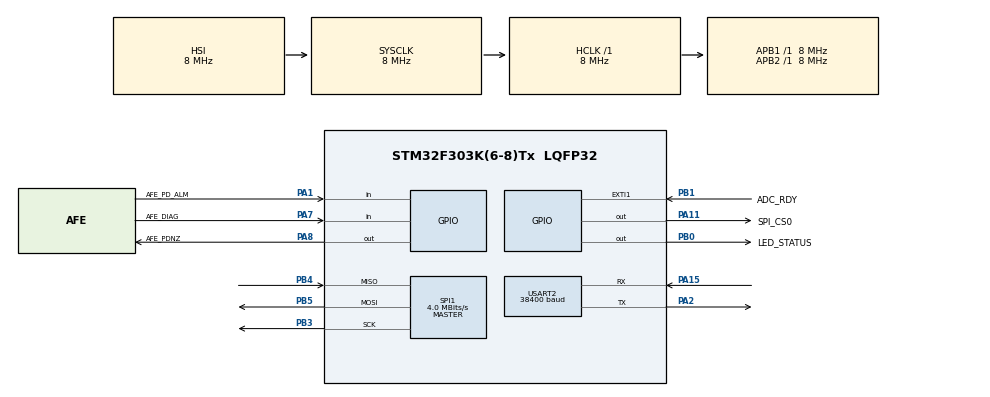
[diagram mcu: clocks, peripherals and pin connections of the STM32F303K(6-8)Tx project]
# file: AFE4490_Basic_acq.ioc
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Mcu.Family=STM32F3
Mcu.Name=STM32F303K(6-8)Tx
Mcu.Package=LQFP32
NVIC.EXTI1_IRQn=true\:0\:0\:true\:false\:true\:true\:true\:true
NVIC.PriorityGroup=NVIC_PRIORITYGROUP_4
NVIC.USART2_IRQn=true\:0\:0\:true\:false\:true\:true\:true\:true
PA1.GPIO_Label=AFE_PD_ALM
PA1.Signal=GPIO_Input
PA11.GPIO_Label=SPI_CS0
PA11.Signal=GPIO_Output
PA13.Mode=Serial_Wire
PA13.Signal=SYS_JTMS-SWDIO
PA14.Mode=Serial_Wire
PA14.Signal=SYS_JTCK-SWCLK
PA15.Mode=Asynchronous
PA15.Signal=USART2_RX
PA2.Mode=Asynchronous
PA2.Signal=USART2_TX
PA7.GPIO_Label=AFE_DIAG
PA7.Signal=GPIO_Input
PA8.GPIO_Label=AFE_PDNZ
PA8.PinState=GPIO_PIN_SET
PA8.Signal=GPIO_Output
PB0.GPIO_Label=LED_STATUS
PB0.Signal=GPIO_Output
PB1.GPIO_Label=ADC_RDY
PB1.Signal=GPXTI1
PB3.Mode=Full_Duplex_Master
PB3.Signal=SPI1_SCK
PB4.Mode=Full_Duplex_Master
PB4.Signal=SPI1_MISO
PB5.Mode=Full_Duplex_Master
PB5.Signal=SPI1_MOSI
PF0\ /\ OSC_IN.Mode=HSE-External-Clock-Source
PF0\ /\ OSC_IN.Signal=RCC_OSC_IN
ProjectManager.HeapSize=0x200
ProjectManager.StackSize=0x400
ProjectManager.TargetToolchain=STM32CubeIDE
RCC.AHBFreq_Value=8000000
RCC.APB1Freq_Value=8000000
RCC.APB1TimFreq_Value=8000000
RCC.APB2Freq_Value=8000000
RCC.APB2TimFreq_Value=8000000
RCC.CortexFreq_Value=8000000
RCC.HCLKFreq_Value=8000000
RCC.HSE_VALUE=8000000
RCC.HSI_VALUE=8000000
RCC.SYSCLKFreq_VALUE=8000000
SPI1.CalculateBaudRate=4.0 MBits/s
SPI1.DataSize=SPI_DATASIZE_8BIT
SPI1.Direction=SPI_DIRECTION_2LINES
SPI1.Mode=SPI_MODE_MASTER
SPI1.NSSPMode=SPI_NSS_PULSE_DISABLE
SPI1.VirtualType=VM_MASTER
USART2.BaudRate=38400
USART2.VirtualMode-Asynchronous=VM_ASYNC
board=NUCLEO-F303K8

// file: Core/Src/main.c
/* USER CODE BEGIN Header */
/**
  **************************
  * @file           : main.c
  * @brief          : Main program body
  **************************
  * @attention
  *
  * Copyright (c) 2022 STMicroelectronics.
  * All rights reserved.
  *
  * This software is licensed under terms that can be found in the LICENSE file
  * in the root directory of this software component.
  * If no LICENSE file comes with this software, it is provided AS-IS.
  *
  **************************
  */
/* USER CODE END Header */
#include "main.h"
#include <math.h>

/* USER CODE BEGIN Includes */
#include "stdio.h"
#include "string.h"
/* USER CODE END Includes */

SPI_HandleTypeDef hspi1;

UART_HandleTypeDef huart2;

/* USER CODE BEGIN PV */
#define MAX_SAMPLES 50
#define scale_factor 1.2f
#define SYSTEM_CLOCK_FREQUENCY 4000000 // 4 MHz
#define FULL_SCALE_CURRENT 75.0  // Assuming full-scale current range is 100 mA
#define LED_RANGE 0x1  // Corresponds to 100 mA full-scale current range (binary 10)
unsigned char uart_buf[100];
unsigned int uart_buf_len;
unsigned char spi_buf[20];

volatile uint8_t data_buffer[10];
volatile uint8_t data_full[100];
volatile uint8_t finished = 0;
volatile uint8_t indice = 0;
uint32_t dataSPI;
int IRdata;
int AIRdata;
int REDdata;
int AREDdata;
int RED_AREDdata;
int IR_AIRdata;
int IRdc[MAX_SAMPLES];
int Reddc[MAX_SAMPLES];
int i = 0;
float difIRheartsig_dc;
float difREDheartsig_dc;
float powdifIR;
float powdifRed;
float IRac;
float Redac;
float Ratio;
float SpO2 = 0;
float SpOpercentage = 0;
float voltage_REDdata;
float voltage_IRdata;

// Define AFE4490 register addresses
uint8_t CONTROL0 = 0x00;
uint8_t LED2STC = 0x01;
uint8_t LED2ENDC = 0x02;
uint8_t LED2LEDSTC = 0x03;
uint8_t LED2LEDENDC = 0x04;
uint8_t ALED2STC = 0x05;
uint8_t ALED2ENDC = 0x06;
uint8_t LED1STC = 0x07;
uint8_t LED1ENDC = 0x08;
uint8_t LED1LEDSTC = 0x09;
uint8_t LED1LEDENDC = 0x0A;
uint8_t ALED1STC = 0x0B;
uint8_t ALED1ENDC = 0x0C;
uint8_t LED2CONVST = 0x0D;
uint8_t LED2CONVEND = 0x0E;
uint8_t ALED2CONVST = 0x0F;
uint8_t ALED2CONVEND = 0x10;
uint8_t LED1CONVST = 0x11;
uint8_t LED1CONVEND = 0x12;
uint8_t ALED1CONVST = 0x13;
uint8_t ALED1CONVEND = 0x14;
uint8_t ADCRSTSTCT0 = 0x15;
uint8_t ADCRSTENDCT0 = 0x16;
uint8_t ADCRSTSTCT1 = 0x17;
uint8_t ADCRSTENDCT1 = 0x18;
uint8_t ADCRSTSTCT2 = 0x19;
uint8_t ADCRSTENDCT2 = 0x1A;
uint8_t ADCRSTSTCT3 = 0x1B;
uint8_t ADCRSTENDCT3 = 0x1C;
uint8_t PRPCOUNT = 0x1D;
uint8_t CONTROL1 = 0x1E;
uint8_t SPARE1 = 0x1F;
uint8_t TIAGAIN = 0x20;
uint8_t TIA_AMB_GAIN = 0x21;
uint8_t LEDCNTRL = 0x22;
uint8_t CONTROL2 = 0x23;
uint8_t SPARE2 = 0x24;
uint8_t SPARE3 = 0x25;
uint8_t SPARE4 = 0x26;
uint8_t RESERVED1 = 0x27;
uint8_t RESERVED2 = 0x28;
uint8_t ALARM = 0x29;
uint8_t LED2VAL = 0x2A;
uint8_t ALED2VAL = 0x2B;
uint8_t LED1VAL = 0x2C;
uint8_t ALED1VAL = 0x2D;
uint8_t LED2_ALED2VAL = 0x2E;
uint8_t LED1_ALED1VAL = 0x2F;
uint8_t DIAG = 0x30;

int a=0;
int b=0;
int c=0;
int e=0;
int f=0;
int hna=0;
int recu = 0;
unsigned char rx_data[10];
unsigned char start_data[10];
HAL_StatusTypeDef status;
int Red_current=0;
int IR_current=0;
float Frequency=0;
float Gain=0;
int Capacity=0;
int Resistance=0;
uint32_t register_value;
uint8_t PRP;
uint32_t value1;
uint32_t value2;
uint32_t ledcntrl_value;
uint16_t TIAGAIN_value;
volatile uint8_t stop_requested  = 0;
uint8_t uart_rx_buffer[10];
uint8_t stop_rx_data[16];
volatile uint8_t start_message_received = 0;
volatile uint8_t start_received = 0;
volatile uint8_t received = 0;
/* USER CODE END PV */

void SystemClock_Config(void);
static void MX_GPIO_Init(void);
static void MX_USART2_UART_Init(void);
static void MX_SPI1_Init(void);
//static void MX_NVIC_Init(void);
/* USER CODE BEGIN PFP */
void main_func(void);
void CheckForDebugMessage(void);
void set_PRPCOUNT_frequency(float desired_frequency);
void set_LED_currents(float led1_current_mA, float led2_current_mA);
void set_TIAGAIN_LED1(int RF_LED1, int CF_LED1, float STG2GAIN1);
void AFE4490_powerDown(uint8_t k);
void AFE4490_readEnable(uint8_t k);
void AFE4490_write(uint8_t addr, uint32_t data);
uint32_t AFE4490_read(uint8_t addr);
void AFE4490_registersInit();
void HAL_GPIO_EXTI_Callback(uint16_t GPIO_Pin);
void HAL_UART_RxCpltCallback(UART_HandleTypeDef *huart);
float mean(int* data, int length);
float calculateSpO2();
//void sendSpO2Value(float spo2);
/* USER CODE END PFP */

int main(void)
{

  /* MCU Configuration--------------------------------------------------------*/

  /* Reset of all peripherals, Initializes the Flash interface and the Systick. */
  HAL_Init();

  /* Configure the system clock */
  SystemClock_Config();

  /* Initialize all configured peripherals */
  MX_GPIO_Init();
  MX_USART2_UART_Init();
  MX_SPI1_Init();
  //MX_NVIC_Init();
  /* USER CODE BEGIN 2 */

  // Set AFE_PDNZ to 1
  //HAL_GPIO_WritePin(AFE_PDNZ_GPIO_Port, AFE_PDNZ_Pin, GPIO_PIN_SET);
  // Set SPI_CS to 1 (IDLE MODE)
  //HAL_GPIO_WritePin(SPI_CS0_GPIO_Port, SPI_CS0_Pin, GPIO_PIN_SET);

  // Send test UART message
  //uart_buf_len = sprintf(uart_buf, "AFE4490 Basic Test Acquisition program\r\n");
  //HAL_UART_Transmit(&huart2, uart_buf, uart_buf_len, HAL_MAX_DELAY);

  //-----------------------Some AFE4490 code tests-------------------------------
  // Power Down AFE4490
  // AFE4490_powerDown(1);
  // Power Up AFE4490
  // AFE4490_powerDown(0);

  // Write value to registers
  /*
  AFE4490_readEnable(0);

  spi_buf[0] = 0x00;
  spi_buf[1] = 0x4e;
  spi_buf[2] = 0xbf;

  HAL_GPIO_WritePin(SPI_CS0_GPIO_Port, SPI_CS0_Pin, GPIO_PIN_RESET);
  HAL_SPI_Transmit(&hspi1, (uint8_t *)&LED2STC, 1, HAL_MAX_DELAY);
  HAL_SPI_Transmit(&hspi1, (uint8_t *) spi_buf, 3, HAL_MAX_DELAY);
  HAL_GPIO_WritePin(SPI_CS0_GPIO_Port, SPI_CS0_Pin, GPIO_PIN_SET);

  spi_buf[0] = 0x00;
  spi_buf[1] = 0xac;
  spi_buf[2] = 0xc8;

  HAL_GPIO_WritePin(SPI_CS0_GPIO_Port, SPI_CS0_Pin, GPIO_PIN_RESET);
  HAL_SPI_Transmit(&hspi1, (uint8_t *)&LED2ENDC, 1, HAL_MAX_DELAY);
  HAL_SPI_Transmit(&hspi1, (uint8_t *) spi_buf, 3, HAL_MAX_DELAY);
  HAL_GPIO_WritePin(SPI_CS0_GPIO_Port, SPI_CS0_Pin, GPIO_PIN_SET);

  // Read back values from registers
  AFE4490_readEnable(1);

  spi_buf[0] = 0x00;
  spi_buf[1] = 0x00;
  spi_buf[2] = 0x00;

  HAL_GPIO_WritePin(SPI_CS0_GPIO_Port, SPI_CS0_Pin, GPIO_PIN_RESET);
  HAL_SPI_Transmit(&hspi1, (uint8_t *)&LED2STC, 1, HAL_MAX_DELAY);
  HAL_SPI_Receive(&hspi1, (uint8_t *)spi_buf, 3, HAL_MAX_DELAY);
  HAL_GPIO_WritePin(SPI_CS0_GPIO_Port, SPI_CS0_Pin, GPIO_PIN_SET);

  uart_buf_len = sprintf(uart_buf, "\r\nBEGIN Reading\r\nLED2STC = 0x%02x%02x%02x\t", spi_buf[0], spi_buf[1], spi_buf[2]);
  HAL_UART_Transmit(&huart2, uart_buf, uart_buf_len, HAL_MAX_DELAY);

  spi_buf[0] = 0x00;
  spi_buf[1] = 0x00;
  spi_buf[2] = 0x00;

  HAL_GPIO_WritePin(SPI_CS0_GPIO_Port, SPI_CS0_Pin, GPIO_PIN_RESET);
  HAL_SPI_Transmit(&hspi1, (uint8_t *)&LED2ENDC, 1, HAL_MAX_DELAY);
  HAL_SPI_Receive(&hspi1, (uint8_t *)spi_buf, 3, HAL_MAX_DELAY);
  HAL_GPIO_WritePin(SPI_CS0_GPIO_Port, SPI_CS0_Pin, GPIO_PIN_SET);

  uart_buf_len = sprintf(uart_buf, "LED2ENDC = 0x%02x%02x%02x\r\nEND Reading\r\n", spi_buf[0], spi_buf[1], spi_buf[2]);
  HAL_UART_Transmit(&huart2, uart_buf, uart_buf_len, HAL_MAX_DELAY);
  */
  //-----------------------AFE4490 END code tests-------------------------------

  // Test using Write and Read functions
  /*
  AFE4490_write(LED2STC, 0x004ebf);
  dataSPI = AFE4490_read(LED2STC);

  uart_buf_len = sprintf(uart_buf, "LED2STC = 0x%06x\r\n", dataSPI);
  HAL_UART_Transmit(&huart2, uart_buf, uart_buf_len, HAL_MAX_DELAY);
  */

  // AFE4490_write(CONTROL0, 0x000008);  //  Reset all registers to default values

  /*
  AFE4490_write(CONTROL0, 0x000008);
  AFE4490_write(CONTROL0, 0x000000);
  */

  //AFE4490_registersInit_62k5();

  // AFE4490_readEnable(0);
  /*
  AFE4490_write(0x01,0x0017C0);    ////
  AFE4490_write(0x02,0x001f3E);    ////
  AFE4490_write(0x03,0x001770);    ////
  AFE4490_write(0x04,0x001F3F);    ////
  AFE4490_write(0x05,0x000050);    ////
  AFE4490_write(0x06,0x0007CE);    ////
  AFE4490_write(0x07,0x000820);    ////
  AFE4490_write(0x08,0x000F9E);    ////
  AFE4490_write(0x09,0x0007D0);    ////
  AFE4490_write(0x0A,0x000F9F);    ////
  AFE4490_write(0x0B,0x000FF0);    ////
  AFE4490_write(0x0C,0x00176E);    ////
  AFE4490_write(0x0D,0x000006);    ////
  AFE4490_write(0x0E,0x0007cf);    ////
  AFE4490_write(0x0F,0x0007d6);    ////
  AFE4490_write(0x10,0x000f9f);    ////
  AFE4490_write(0x11,0x000fa6);    ////
  AFE4490_write(0x12,0x00176f);    ////
  AFE4490_write(0x13,0x001776);    ////
  AFE4490_write(0x14,0x001f3f);    ////
  AFE4490_write(0x15,0x000000);    ////
  AFE4490_write(0x16,0x000005);    ////
  AFE4490_write(0x17,0x0007d0);    ////
  AFE4490_write(0x18,0x0007d5);    ////
  AFE4490_write(0x19,0x000fa0);    ////
  AFE4490_write(0x1A,0x000fa5);    ////
  AFE4490_write(0x1B,0x001770);    ////
  AFE4490_write(0x1C,0x001775);    ////
  AFE4490_write(0x1D,0x001f3f);    ////
  AFE4490_write(0x1E,0x000101);    ////
  AFE4490_write(0x1F,0x000000);    ////
  AFE4490_write(0x20,0x000000);
  // AFE4490_write(0x21,0x000000);
  AFE4490_write(TIA_AMB_GAIN,0x000005);
  // AFE4490_write(0x22,0x02ffff);
  AFE4490_write(LEDCNTRL, 0x011414);
  AFE4490_write(0x23,0x020000);    ////
  AFE4490_write(0x24,0x000000);
  AFE4490_write(0x25,0x000000);
  AFE4490_write(0x26,0x000000);
  AFE4490_write(0x27,0x000000);
  AFE4490_write(0x28,0x000000);
  AFE4490_write(0x29,0x000080);
  AFE4490_write(0x2A,0x000000);
  AFE4490_write(0x2B,0x000000);
  AFE4490_write(0x2C,0x000000);
  AFE4490_write(0x2D,0x000000);
  AFE4490_write(0x2E,0x000000);
  AFE4490_write(0x2F,0x000000);
  AFE4490_write(0x30,0x000000);
  */

  // Basic configuration to observe ADC_RDY Pin
  /*
  AFE4490_write(CONTROL0, 0x000002);
  AFE4490_write(PRPCOUNT, 0x00FA0);
  AFE4490_write(CONTROL0, 0x000000);
  AFE4490_write(CONTROL1, 0x000100);
  */

  /*uint8_t addr;

  // Read registers from 0x01 to 0x23

  for (addr = 1; addr <= 35; addr++)
  {
	  dataSPI = AFE4490_read(addr);
	  uart_buf_len = sprintf(uart_buf, "addr 0x%02x = 0x%06x\r\n", addr, dataSPI);
	  HAL_UART_Transmit(&huart2, uart_buf, uart_buf_len, HAL_MAX_DELAY);
	  HAL_Delay(100);
  */
  //AFE4490_write(LEDCNTRL, 0x011414);

  //a=1;
  //set_LED_currents(5.859, 5.859);
  //set_TIAGAIN_LED1(500,5,0);
  //AFE4490_registersInit_62k5();
  //value  = AFE4490_read(TIAGAIN);

  /*
  AFE4490_write(LEDCNTRL, 0x010000);  //  I = 0 mA
  AFE4490_write(LEDCNTRL, 0x010303);  //  I = 1 mA
  AFE4490_write(LEDCNTRL, 0x010707);  //  I = 2 mA
  AFE4490_write(LEDCNTRL, 0x010A0A);  //  I = 3 mA
  AFE4490_write(LEDCNTRL, 0x010E0E);  //  I = 4 mA
  AFE4490_write(LEDCNTRL, 0x010E0E);  //  I = 5 mA
  AFE4490_write(LEDCNTRL, 0x011414);  //  I = 5.8835 mA
  */

  /* USER CODE END 2 */

  /* Infinite loop */
  /* USER CODE BEGIN WHILE */
  while (1)
  {
	 // Toggle LED_STATUS pin every x seconds

	 //HAL_GPIO_TogglePin(LED_STATUS_GPIO_Port, LED_STATUS_Pin);
	 //HAL_Delay(500);
	  a++;
	  main_func();
	  //AFE4490_write(LEDCNTRL, 0x011414);
	  //main_func();
	  //PRPCOUNT = 0x1D;
	  //set_PRPCOUNT_frequency(500);
	  // uart_buf_len = sprintf(uart_buf, "RED: %d\tIR: %d\r\n", REDdata, IRdata);
	  /*uart_buf_len = sprintf(uart_buf, "RED: %d\r\n", REDdata);
	  HAL_UART_Transmit(&huart2, uart_buf, uart_buf_len, HAL_MAX_DELAY);
	  */

    /* USER CODE END WHILE */

  }
}

void SystemClock_Config(void)
{
  RCC_OscInitTypeDef RCC_OscInitStruct = {0};
  RCC_ClkInitTypeDef RCC_ClkInitStruct = {0};

  /** Initializes the RCC Oscillators according to the specified parameters
  * in the RCC_OscInitTypeDef structure.
  */
  RCC_OscInitStruct.OscillatorType = RCC_OSCILLATORTYPE_HSI;
  RCC_OscInitStruct.HSIState = RCC_HSI_ON;
  RCC_OscInitStruct.HSICalibrationValue = RCC_HSICALIBRATION_DEFAULT;
  RCC_OscInitStruct.PLL.PLLState = RCC_PLL_NONE;
  if (HAL_RCC_OscConfig(&RCC_OscInitStruct) != HAL_OK)
  {
    Error_Handler();
  }
  /** Initializes the CPU, AHB and APB buses clocks
  */
  RCC_ClkInitStruct.ClockType = RCC_CLOCKTYPE_HCLK|RCC_CLOCKTYPE_SYSCLK
                              |RCC_CLOCKTYPE_PCLK1|RCC_CLOCKTYPE_PCLK2;
  RCC_ClkInitStruct.SYSCLKSource = RCC_SYSCLKSOURCE_HSI;
  RCC_ClkInitStruct.AHBCLKDivider = RCC_SYSCLK_DIV1;
  RCC_ClkInitStruct.APB1CLKDivider = RCC_HCLK_DIV1;
  RCC_ClkInitStruct.APB2CLKDivider = RCC_HCLK_DIV1;

  if (HAL_RCC_ClockConfig(&RCC_ClkInitStruct, FLASH_LATENCY_0) != HAL_OK)
  {
    Error_Handler();
  }
}

/*static void MX_NVIC_Init(void)
{
	/* USART2_IRQn interrupt configuration
	HAL_NVIC_SetPriority(USART2_IRQn, 0, 0);
	HAL_NVIC_EnableIRQ(USART2_IRQn);
  /* EXTI1_IRQn interrupt configuration
	HAL_NVIC_SetPriority(EXTI1_IRQn, 1, 0);
	HAL_NVIC_EnableIRQ(EXTI1_IRQn);
}*/

static void MX_SPI1_Init(void)
{

  /* SPI1 parameter configuration*/
  hspi1.Instance = SPI1;
  hspi1.Init.Mode = SPI_MODE_MASTER;
  hspi1.Init.Direction = SPI_DIRECTION_2LINES;
  hspi1.Init.DataSize = SPI_DATASIZE_8BIT;
  hspi1.Init.CLKPolarity = SPI_POLARITY_LOW;
  hspi1.Init.CLKPhase = SPI_PHASE_1EDGE;
  hspi1.Init.NSS = SPI_NSS_SOFT;
  hspi1.Init.BaudRatePrescaler = SPI_BAUDRATEPRESCALER_2;
  hspi1.Init.FirstBit = SPI_FIRSTBIT_MSB;
  hspi1.Init.TIMode = SPI_TIMODE_DISABLE;
  hspi1.Init.CRCCalculation = SPI_CRCCALCULATION_DISABLE;
  hspi1.Init.CRCPolynomial = 7;
  hspi1.Init.CRCLength = SPI_CRC_LENGTH_DATASIZE;
  hspi1.Init.NSSPMode = SPI_NSS_PULSE_DISABLE;
  if (HAL_SPI_Init(&hspi1) != HAL_OK)
  {
    Error_Handler();
  }

}

static void MX_USART2_UART_Init(void)
{

  huart2.Instance = USART2;
  huart2.Init.BaudRate = 115200;
  huart2.Init.WordLength = UART_WORDLENGTH_8B;
  huart2.Init.StopBits = UART_STOPBITS_1;
  huart2.Init.Parity = UART_PARITY_NONE;
  huart2.Init.Mode = UART_MODE_TX_RX;
  huart2.Init.HwFlowCtl = UART_HWCONTROL_NONE;
  huart2.Init.OverSampling = UART_OVERSAMPLING_16;
  huart2.Init.OneBitSampling = UART_ONE_BIT_SAMPLE_DISABLE;
  huart2.AdvancedInit.AdvFeatureInit = UART_ADVFEATURE_NO_INIT;
  if (HAL_UART_Init(&huart2) != HAL_OK)
  {
    Error_Handler();
  }

}

static void MX_GPIO_Init(void)
{
  GPIO_InitTypeDef GPIO_InitStruct = {0};

  /* GPIO Ports Clock Enable */
  __HAL_RCC_GPIOF_CLK_ENABLE();
  __HAL_RCC_GPIOA_CLK_ENABLE();
  __HAL_RCC_GPIOB_CLK_ENABLE();

  /*Configure GPIO pin Output Level */
  HAL_GPIO_WritePin(LED_STATUS_GPIO_Port, LED_STATUS_Pin, GPIO_PIN_RESET);

  /*Configure GPIO pin Output Level */
  HAL_GPIO_WritePin(AFE_PDNZ_GPIO_Port, AFE_PDNZ_Pin, GPIO_PIN_SET);

  /*Configure GPIO pin Output Level */
  HAL_GPIO_WritePin(SPI_CS0_GPIO_Port, SPI_CS0_Pin, GPIO_PIN_RESET);

  /*Configure GPIO pins : AFE_PD_ALM_Pin AFE_DIAG_Pin */
  GPIO_InitStruct.Pin = AFE_PD_ALM_Pin|AFE_DIAG_Pin;
  GPIO_InitStruct.Mode = GPIO_MODE_INPUT;
  GPIO_InitStruct.Pull = GPIO_NOPULL;
  HAL_GPIO_Init(GPIOA, &GPIO_InitStruct);

  /*Configure GPIO pin : LED_STATUS_Pin */
  GPIO_InitStruct.Pin = LED_STATUS_Pin;
  GPIO_InitStruct.Mode = GPIO_MODE_OUTPUT_PP;
  GPIO_InitStruct.Pull = GPIO_NOPULL;
  GPIO_InitStruct.Speed = GPIO_SPEED_FREQ_LOW;
  HAL_GPIO_Init(LED_STATUS_GPIO_Port, &GPIO_InitStruct);

  /*Configure GPIO pin : ADC_RDY_Pin */
  GPIO_InitStruct.Pin = ADC_RDY_Pin;
  GPIO_InitStruct.Mode = GPIO_MODE_IT_RISING;
  GPIO_InitStruct.Pull = GPIO_NOPULL;
  HAL_GPIO_Init(ADC_RDY_GPIO_Port, &GPIO_InitStruct);

  /*Configure GPIO pins : AFE_PDNZ_Pin SPI_CS0_Pin */
  GPIO_InitStruct.Pin = AFE_PDNZ_Pin|SPI_CS0_Pin;
  GPIO_InitStruct.Mode = GPIO_MODE_OUTPUT_PP;
  GPIO_InitStruct.Pull = GPIO_NOPULL;
  GPIO_InitStruct.Speed = GPIO_SPEED_FREQ_LOW;
  HAL_GPIO_Init(GPIOA, &GPIO_InitStruct);

  /* EXTI interrupt init*/
  //HAL_NVIC_SetPriority(EXTI1_IRQn, 0, 0);
  //HAL_NVIC_EnableIRQ(EXTI1_IRQn);

}

/* USER CODE BEGIN 4 */

// Enable/Disable AFE4490 Read/Write Mode
void AFE4490_readEnable(uint8_t k)
{
	unsigned char spi_buf[3];
	spi_buf[0] = 0x00;
	spi_buf[1] = 0x00;

	switch(k)
	{
	case 1:
	spi_buf[2] = 0x01;
	HAL_GPIO_WritePin(SPI_CS0_GPIO_Port, SPI_CS0_Pin, GPIO_PIN_RESET);
	HAL_SPI_Transmit(&hspi1, (uint8_t *)&CONTROL0, 1, HAL_MAX_DELAY);
	HAL_SPI_Transmit(&hspi1, (uint8_t *) spi_buf, 3, HAL_MAX_DELAY);
	HAL_GPIO_WritePin(SPI_CS0_GPIO_Port, SPI_CS0_Pin, GPIO_PIN_SET);
	break;
	case 0:
	spi_buf[2] = 0x00;
	HAL_GPIO_WritePin(SPI_CS0_GPIO_Port, SPI_CS0_Pin, GPIO_PIN_RESET);
	HAL_SPI_Transmit(&hspi1, (uint8_t *)&CONTROL0, 1, HAL_MAX_DELAY);
	HAL_SPI_Transmit(&hspi1, (uint8_t *) spi_buf, 3, HAL_MAX_DELAY);
	HAL_GPIO_WritePin(SPI_CS0_GPIO_Port, SPI_CS0_Pin, GPIO_PIN_SET);
	break;
	default:
	// Do nothing
	break;
	}
}

// AFE4490 Power down
void AFE4490_powerDown(uint8_t k)
{
	unsigned char spi_buf[3];
	spi_buf[0] = 0x00;
	spi_buf[1] = 0x00;

	switch(k)
	{
	case 1:
	spi_buf[2] = 0x01;
	HAL_GPIO_WritePin(SPI_CS0_GPIO_Port, SPI_CS0_Pin, GPIO_PIN_RESET);
	HAL_SPI_Transmit(&hspi1, (uint8_t *)&CONTROL2, 1, HAL_MAX_DELAY);
	HAL_SPI_Transmit(&hspi1, (uint8_t *) spi_buf, 3, HAL_MAX_DELAY);
	HAL_GPIO_WritePin(SPI_CS0_GPIO_Port, SPI_CS0_Pin, GPIO_PIN_SET);
	break;
	case 0:
	spi_buf[2] = 0x00;
	HAL_GPIO_WritePin(SPI_CS0_GPIO_Port, SPI_CS0_Pin, GPIO_PIN_RESET);
	HAL_SPI_Transmit(&hspi1, (uint8_t *)&CONTROL2, 1, HAL_MAX_DELAY);
	HAL_SPI_Transmit(&hspi1, (uint8_t *) spi_buf, 3, HAL_MAX_DELAY);
	HAL_GPIO_WritePin(SPI_CS0_GPIO_Port, SPI_CS0_Pin, GPIO_PIN_SET);
	break;
	default:
	// Do nothing
	break;
	}
}

// AFE4490 Write Function
void AFE4490_write(uint8_t addr, uint32_t data)
{
	unsigned char spi_buf[20];

	spi_buf[0] = (data>>16) & 0xFF;
	spi_buf[1] = (data>>8) & 0xFF;
	spi_buf[2] = data & 0xFF;

	AFE4490_readEnable(0);

	HAL_GPIO_WritePin(SPI_CS0_GPIO_Port, SPI_CS0_Pin, GPIO_PIN_RESET);
	HAL_SPI_Transmit(&hspi1, (uint8_t *)&addr, 1, HAL_MAX_DELAY);
	HAL_SPI_Transmit(&hspi1, (uint8_t *) spi_buf, 3, HAL_MAX_DELAY);
	HAL_GPIO_WritePin(SPI_CS0_GPIO_Port, SPI_CS0_Pin, GPIO_PIN_SET);
}

uint32_t AFE4490_read(uint8_t addr)
{
	unsigned char spi_buf[20];
	uint32_t data;
	spi_buf[0] = 0x00;
	spi_buf[1] = 0x00;
	spi_buf[2] = 0x00;

	AFE4490_readEnable(1);

	HAL_GPIO_WritePin(SPI_CS0_GPIO_Port, SPI_CS0_Pin, GPIO_PIN_RESET);
	HAL_SPI_Transmit(&hspi1, (uint8_t *)&addr, 1, HAL_MAX_DELAY);
	HAL_SPI_Receive(&hspi1, (uint8_t *) spi_buf, 3, HAL_MAX_DELAY);
	HAL_GPIO_WritePin(SPI_CS0_GPIO_Port, SPI_CS0_Pin, GPIO_PIN_SET);

	data = ((spi_buf[0] & 0xFF) << 16) + ((spi_buf[1] & 0xFF) << 8) + (spi_buf[2] & 0xFF);

	return data;
}

void CheckForDebugMessage(void)
{
  HAL_StatusTypeDef status1;

  // Vérifiez s'il y a des données disponibles en UART sans bloquer
  HAL_UART_Receive(&huart2, rx_data, 16, 10000);
    // Vérifiez si les données reçues correspondent au message de débogage attendu
    if (rx_data[0]=='p' && rx_data[1]=='r' && rx_data[2]=='e' && rx_data[3]=='t')
    {
      // Message de démarrage reçu, mettre à jour la variable globale
      start_received = 1;
    }
}

void main_func(void){
	enum ETAT {
		SET_IRED,
		RX_REDCURRENT,
		SET_IIR,
		RX_IRCURRENT,
		SET_GAIN,
		RX_GAIN,
		SET_CAPACITY,
		RX_CAPACITY,
		SET_FREQUENCY,
		RX_FREQUENCY,
		SET_RESISTANCE,
		RX_RESISTANCE,
		CONF_AFE,
		CHECK_CONF,
		TX_STARTAQUI,
		TX_DONNEE,
		S_FIN
	};
	static enum ETAT Etat = SET_IRED;

	switch(Etat){
	case SET_IRED: {
		uart_buf_len = sprintf(uart_buf, "Entrer IRED\r\n");

		// Transmettre le message via UART
		HAL_UART_Transmit(&huart2, (uint8_t *)uart_buf, uart_buf_len, HAL_MAX_DELAY);
		Etat = RX_REDCURRENT;
		break;
	}
	case RX_REDCURRENT: {
		status = HAL_UART_Receive(&huart2, rx_data, 16, 10000);
		if(status==HAL_TIMEOUT){
			sscanf(rx_data, "IRED: %d", &Red_current);
			Etat = SET_IIR;
		}
		break;
	}
	case SET_IIR: {
		uart_buf_len = sprintf(uart_buf, "Entrer IIR\r\n");

		// Transmettre le message via UART
		HAL_UART_Transmit(&huart2, (uint8_t *)uart_buf, uart_buf_len, HAL_MAX_DELAY);
		Etat = RX_IRCURRENT;
		break;
	}
	case RX_IRCURRENT: {
		status = HAL_UART_Receive(&huart2, rx_data, 16, 10000);
		if(status==HAL_TIMEOUT){
			sscanf(rx_data, "IIR: %d", &IR_current);
			Etat = SET_GAIN;
		}
		break;
	}
	case SET_GAIN: {
		uart_buf_len = sprintf(uart_buf, "Entrer G\r\n");

		// Transmettre le message via UART
		HAL_UART_Transmit(&huart2, (uint8_t *)uart_buf, uart_buf_len, HAL_MAX_DELAY);
		Etat = RX_GAIN;
		break;
	}
	case RX_GAIN: {
		status = HAL_UART_Receive(&huart2, rx_data, 16, 10000);
		if(status==HAL_TIMEOUT){
			sscanf(rx_data, "G: %f", &Gain);
			Etat = SET_CAPACITY;
		}
		break;
	}
	case SET_CAPACITY: {
		uart_buf_len = sprintf(uart_buf, "Entrer Cf\r\n");

		// Transmettre le message via UART
		HAL_UART_Transmit(&huart2, (uint8_t *)uart_buf, uart_buf_len, HAL_MAX_DELAY);
		Etat = RX_CAPACITY;
		break;
	}
	case RX_CAPACITY: {
		status = HAL_UART_Receive(&huart2, rx_data, 16, 10000);
		if(status==HAL_TIMEOUT){
			sscanf(rx_data, "Cf: %d", &Capacity);
			Etat = SET_FREQUENCY;
		}
		break;
	}
	case SET_FREQUENCY: {
		uart_buf_len = sprintf(uart_buf, "Entrer F\r\n");

		// Transmettre le message via UART
		HAL_UART_Transmit(&huart2, (uint8_t *)uart_buf, uart_buf_len, HAL_MAX_DELAY);
		Etat = RX_FREQUENCY;
		break;
	}
	case RX_FREQUENCY: {
		status = HAL_UART_Receive(&huart2, rx_data, 16, 10000);
		if(status==HAL_TIMEOUT){
			sscanf(rx_data, "F: %f", &Frequency);
			Etat = SET_RESISTANCE;
		}
		break;
	}
	case SET_RESISTANCE: {
		uart_buf_len = sprintf(uart_buf, "Entrer Rf\r\n");

		// Transmettre le message via UART
		HAL_UART_Transmit(&huart2, (uint8_t *)uart_buf, uart_buf_len, HAL_MAX_DELAY);
		Etat = RX_RESISTANCE;
		break;
	}
	case RX_RESISTANCE: {
		status = HAL_UART_Receive(&huart2, rx_data, 16, 10000);
		if(status==HAL_TIMEOUT){
			sscanf(rx_data, "Rf: %d", &Resistance);
			Etat = CONF_AFE;
		}
		break;
	}
	case CONF_AFE: {
		AFE4490_registersInit_62k5();
		Etat = CHECK_CONF;
		break;
	}
	case CHECK_CONF : {
		value1 = AFE4490_read(PRPCOUNT);
		value2 = AFE4490_read(LEDCNTRL);
		Etat = TX_STARTAQUI;
		break;
	}
	case TX_STARTAQUI: {
		uart_buf_len = sprintf(uart_buf, "Configuration terminée\r\n");

    	// Transmettre le message via UART
    	HAL_UART_Transmit(&huart2, (uint8_t *)uart_buf, uart_buf_len, HAL_MAX_DELAY);
    	b=1;
		Etat = TX_DONNEE;
		break;
	}
	case TX_DONNEE: {
		HAL_NVIC_EnableIRQ(EXTI1_IRQn);
		f=1;
		Etat = S_FIN;
   		break;
	}
	case S_FIN: {
		Etat = SET_IRED;
		break;
	}
	}
}

void set_PRPCOUNT_frequency(float desired_frequency) {
    // Calculate the Pulse Repetition Period in clock cycles
    float period_seconds = 1.0f / desired_frequency;
    uint32_t PRPCOUNT_value = (uint32_t)(period_seconds * SYSTEM_CLOCK_FREQUENCY) - 1;

    // Ensure the PRPCOUNT value is within the valid range (800 to 64000)
    if (PRPCOUNT_value < 800) {
        PRPCOUNT_value = 800;
    } else if (PRPCOUNT_value > 64000) {
        PRPCOUNT_value = 64000;
    }

    // Ensure the higher bits are set to zero and only the lower 16 bits are used
    register_value = (PRPCOUNT_value & 0xFFFF);

    // Write the value to the PRPCOUNT register
    AFE4490_write(PRPCOUNT, register_value);
}

void set_LED_currents(float led1_current_mA, float led2_current_mA) {
    // Ensure the LED currents are within the valid range
    if (led1_current_mA > FULL_SCALE_CURRENT) {
        led1_current_mA = FULL_SCALE_CURRENT;
    }
    if (led2_current_mA > FULL_SCALE_CURRENT) {
        led2_current_mA = FULL_SCALE_CURRENT;
    }

    // Calculate the register values
    uint8_t led1_register_value = (uint8_t)round((led1_current_mA / FULL_SCALE_CURRENT) * 256);
    uint8_t led2_register_value = (uint8_t)round((led2_current_mA / FULL_SCALE_CURRENT) * 256);

    // Combine the values into the LEDCNTRL register format
    // Bits D[23:18] must be '0'
    // Bits D[17:16] LED_RANGE[1:0]
    // Bits D[15:8] LED1[7:0]
    // Bits D[7:0] LED2[7:0]
    ledcntrl_value = (LED_RANGE << 16) | (led1_register_value << 8) | led2_register_value;

    // Write to the LEDCNTRL register
    AFE4490_write(LEDCNTRL, ledcntrl_value);
}

void set_TIAGAIN_LED1(int RF_LED1, int CF_LED1, float STG2GAIN1) {
    // Map RF_LED1 to its corresponding bit value
    uint8_t rf_led_bits;
    if (RF_LED1 == 500) {
        rf_led_bits = 0b000;
    } else if (RF_LED1 == 250) {
        rf_led_bits = 0b001;
    } else if (RF_LED1 == 100) {
        rf_led_bits = 0b010;
    } else if (RF_LED1 == 50) {
        rf_led_bits = 0b011;
    } else if (RF_LED1 == 25) {
        rf_led_bits = 0b100;
    } else if (RF_LED1 == 10) {
        rf_led_bits = 0b101;
    } else if (RF_LED1 == 1000) {
        rf_led_bits = 0b110;
    } else {
        rf_led_bits = 0b111; // None
    }

    // Map CF_LED1 to its corresponding bit value
    uint8_t cf_led_bits;
    switch (CF_LED1) {
        case 5:
            cf_led_bits = 0b00000;
            break;
        case 10:
            cf_led_bits = 0b00001;
            break;
        case 25:
            cf_led_bits = 0b00100;
            break;
        case 50:
            cf_led_bits = 0b01000;
            break;
        case 100:
            cf_led_bits = 0b10000;
            break;
        case 250:
            cf_led_bits = 0b11001;
            break;
        default:
            cf_led_bits = 0b00000; // Default to 5 pF
            break;
    }

    // Map STG2GAIN1 to its corresponding bit value
    uint8_t stg2gain_bits;
    if (STG2GAIN1 == 0) {
        stg2gain_bits = 0b000;
    } else if (STG2GAIN1 == 3.5) {
        stg2gain_bits = 0b001;
    } else if (STG2GAIN1 == 6) {
        stg2gain_bits = 0b010;
    } else if (STG2GAIN1 == 9.5) {
        stg2gain_bits = 0b011;
    } else if (STG2GAIN1 == 12) {
        stg2gain_bits = 0b100;
    } else {
        stg2gain_bits = 0b000; // Default to 0 dB
    }

    // Construct the value to be written to the TIAGAIN register for LED1
    TIAGAIN_value = (stg2gain_bits << 8) | (cf_led_bits << 3) | rf_led_bits;

    // Now, you can use this TIAGAIN value to initialize the AFE4490 TIAGAIN register for LED1
    AFE4490_write(TIAGAIN, TIAGAIN_value);
}

float mean(int* data, int length) {
    float sum = 0;
    for (int i = 0; i < length; i++) {
        sum += data[i];
    }
    return sum / length;
}

/*float calculateSpO2() {

    IRdc[i] = mean(IRdata, MAX_SAMPLES);
    Reddc[i] = mean(REDdata, MAX_SAMPLES);

    difIRheartsig_dc = IRdata[i] - IRdc[i];
    difREDheartsig_dc = REDdata[i] - Reddc[i];

    powdifIR = pow(difIRheartsig_dc, 2.0);
    powdifRed = pow(difREDheartsig_dc, 2.0);

    IRac = powdifIR / i;
    Redac = powdifRed / i;

    Ratio = (Redac / Reddc[i]) / (IRac / IRdc[i]);

    SpO2 = 100 - Ratio;
    return SpO2;
    // Imprimer le taux de SpO2
    //Serial.println("SpO2 percentage: " + String(SpO2));
}*/

/*void sendSpO2Value(float spo2) {
    char uart_buffer[50];
    int len = sprintf(uart_buffer, "SpO2: %.2f\r\n", spo2);
    HAL_UART_Transmit(&huart2, (uint8_t *)uart_buffer, len, HAL_MAX_DELAY);
}*/

// AFE4490 Registers Initialization
void AFE4490_registersInit_500k()
{
	char uart_buf[50];
	unsigned int uart_buf_len;

	uart_buf_len = sprintf(uart_buf, "AFE4490 registers initialization ...\r\n");
	HAL_UART_Transmit(&huart2, uart_buf, uart_buf_len, HAL_MAX_DELAY);

	// Enable Write Mode
	AFE4490_readEnable(0);

	// Timer Module Configuration
	// PRPCOUNT Configuration, Set PRF = 500 Hz --> PRPCOUNT = 7999 = 0x1F3F
	AFE4490_write(PRPCOUNT, 0x001F3F);

	// Conversions sequence timing configuration
	AFE4490_write(LED2CONVST, 0x000006);
	AFE4490_write(LED2CONVEND, 0x0007CF);
	AFE4490_write(ALED2CONVST, 0x0007D6);
	AFE4490_write(ALED2CONVEND, 0x000F9F);
	AFE4490_write(LED1CONVST, 0x000FA6);
	AFE4490_write(LED1CONVEND, 0x00176F);
	AFE4490_write(ALED1CONVST, 0x001776);
	AFE4490_write(ALED1CONVEND, 0x001F3F);
	AFE4490_write(ADCRSTSTCT0, 0x000000);
	AFE4490_write(ADCRSTENDCT0, 0x000005);
	AFE4490_write(ADCRSTSTCT1, 0x0007D0);
	AFE4490_write(ADCRSTENDCT1, 0x0007D5);
	AFE4490_write(ADCRSTSTCT2, 0x000FA0);
	AFE4490_write(ADCRSTENDCT2, 0x000FA5);
	AFE4490_write(ADCRSTSTCT3, 0x001770);
	AFE4490_write(ADCRSTENDCT3, 0x001775);

	// LED2 timing Pulses & Samples
	AFE4490_write(LED2STC, 0x0017C0);
	AFE4490_write(LED2ENDC, 0x001F3E);
	AFE4490_write(LED2LEDSTC, 0x001770);
	AFE4490_write(LED2LEDENDC, 0x001F3F);
	AFE4490_write(ALED2STC, 0x000050);
	AFE4490_write(ALED2ENDC, 0x0007CE);

	// LED1 timing Pulses & Samples
	AFE4490_write(LED1STC, 0x000820);
	AFE4490_write(LED1ENDC, 0x000F9E);
	AFE4490_write(LED1LEDSTC, 0x0007D0);
	AFE4490_write(LED1LEDENDC, 0x000F9F);
	AFE4490_write(ALED1STC, 0x000FF0);
	AFE4490_write(ALED1ENDC, 0x00176E);

	// CONTROL1 reg : Enable Timer, Average 1 ADC Sample
	AFE4490_write(CONTROL1, 0x000107);

	// Receiver Channel setting
	AFE4490_write(TIAGAIN, 0x000000); // RF, CF and Stage 2 gain settings are same for both LED1 and LED2
	AFE4490_write(TIA_AMB_GAIN, 0x000005); // Set CF = 5pF, RF = 10kOhm, By Stage 2 Gain

	// LEDCNTRL register, set max current to 75 mA
	// ILED1 = ILED2 = 5.859 mA
	// LED1 = LED2 = 20
	AFE4490_write(LEDCNTRL, 0x011414);

	// CONTROL2 register configuration
	AFE4490_write(CONTROL2, 0x000000);

}

void AFE4490_registersInit_62k5()
{
	char uart_buf[50];
	unsigned int uart_buf_len;

	uart_buf_len = sprintf(uart_buf, "AFE4490 registers initialization ...\r\n");
	HAL_UART_Transmit(&huart2, uart_buf, uart_buf_len, HAL_MAX_DELAY);

	// Enable Write Mode
	AFE4490_readEnable(0);

	// Timer Module Configuration
	// PRPCOUNT Configuration, Set PRF = 500 Hz --> PRPCOUNT = 7999 = 0x1F3F
	    AFE4490_write(CONTROL1, 0x000101);
	    AFE4490_write(CONTROL2, 0x000000);
	    set_PRPCOUNT_frequency(Frequency);
	    //AFE4490_write(PRPCOUNT, 0X001F3F);

	    AFE4490_write(LED2STC, 0X001770); //timer control
	    AFE4490_write(LED2ENDC,0X001F3E); //timer control
	    AFE4490_write(LED2LEDSTC,0X001770); //timer control
	    AFE4490_write(LED2LEDENDC,0X001F3F); //timer control
	    AFE4490_write(ALED2STC, 0X000000); //timer control
	    AFE4490_write(ALED2ENDC, 0X0007CE); //timer control
	    AFE4490_write(LED2CONVST,0X000002); //timer control
	    AFE4490_write(LED2CONVEND, 0X0007CF); //timer control
	    AFE4490_write(ALED2CONVST, 0X0007D2); //timer control
	    AFE4490_write(ALED2CONVEND,0X000F9F); //timer control

	    AFE4490_write(LED1STC, 0X0007D0); //timer control
	    AFE4490_write(LED1ENDC, 0X000F9E); //timer control
	    AFE4490_write(LED1LEDSTC, 0X0007D0); //timer control
	    AFE4490_write(LED1LEDENDC, 0X000F9F); //timer control
	    AFE4490_write(ALED1STC, 0X000FA0); //timer control
	    AFE4490_write(ALED1ENDC, 0X00176E); //timer control
	    AFE4490_write(LED1CONVST, 0X000FA2); //timer control
	    AFE4490_write(LED1CONVEND, 0X00176F); //timer control
	    AFE4490_write(ALED1CONVST, 0X001772); //timer control
	    AFE4490_write(ALED1CONVEND, 0X001F3F); //timer control

	    AFE4490_write(ADCRSTSTCT0, 0X000000); //timer control
	    AFE4490_write(ADCRSTENDCT0,0X000000); //timer control
	    AFE4490_write(ADCRSTSTCT1, 0X0007D0); //timer control
	    AFE4490_write(ADCRSTENDCT1, 0X0007D0); //timer control
	    AFE4490_write(ADCRSTSTCT2, 0X000FA0); //timer control
	    AFE4490_write(ADCRSTENDCT2, 0X000FA0); //timer control
	    AFE4490_write(ADCRSTSTCT3, 0X001770); //timer control
	    AFE4490_write(ADCRSTENDCT3, 0X001770);

	    set_LED_currents(IR_current,Red_current);

	    set_TIAGAIN_LED1(Resistance, Capacity, Gain);	// CF = 5pF, RF = 500kR
	    AFE4490_write(TIA_AMB_GAIN,0x000005);	// Timers ON, average 3 samples
	    //AFE4490_write(LEDCNTRL,0x0011414);	// Switch to READ mode
	    AFE4490_write(CONTROL2,0x000000);	// LED_RANGE=100mA, LED=50mA
	    AFE4490_write(CONTROL1,0x010707);	// Timers ON, average 3 samples
	    AFE4490_write(CONTROL0,0x000001);

}

void HAL_GPIO_EXTI_Callback(uint16_t GPIO_Pin)
{
	if (stop_requested) {
		HAL_NVIC_DisableIRQ(EXTI1_IRQn);
	    return;
	}
	e++;
	REDdata = AFE4490_read(LED2VAL);
	voltage_REDdata = (scale_factor * (float)REDdata) / pow(2,21);
	// AREDdata = AFE4490_read(ALED2VAL);
	IRdata = AFE4490_read(LED1VAL);
	voltage_IRdata = (scale_factor * (float)IRdata) / pow(2,21);

	// uart_buf_len = sprintf(uart_buf, "RED: %d\tIR: %d\r\n", REDdata, IRdata);
	uart_buf_len = sprintf(uart_buf, "IRdata: %f, REDdata: %f\r\n", voltage_IRdata, voltage_REDdata);
	HAL_UART_Transmit(&huart2, uart_buf, uart_buf_len, HAL_MAX_DELAY);
	c=1;
	HAL_StatusTypeDef status1 = HAL_UART_Receive(&huart2, rx_data, 16, 0); // Passer 0 pour un délai non bloquant
	if (rx_data[0]== 's'){
		stop_requested = 1;
	}
}

/* USER CODE END 4 */

void Error_Handler(void)
{
  __disable_irq();
  while (1)
  {
  }
}
